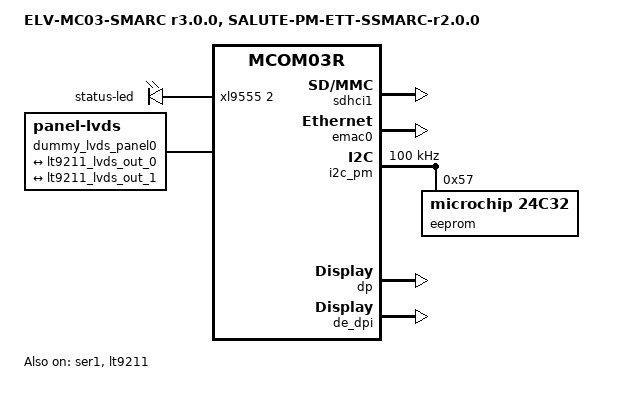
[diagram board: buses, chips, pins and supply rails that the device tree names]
// SPDX-License-Identifier: GPL-2.0+
// Copyright 2026 RnD Center "ELVEES", JSC

/dts-v1/;

#include <dt-bindings/gpio/gpio.h>
#include <dt-bindings/input/input.h>

#include "mcom03r-elvmc03smarc-r3.0.0.dtsi"

/ {
	model = "ELV-MC03-SMARC r3.0.0, SALUTE-PM-ETT-SSMARC-r2.0.0";
	compatible = "elvees,elvmc03smarc-r3.0.0-salute-pm-ett-ssmarc-r2.0.0",
		     "elvees,elvmc03smarc-salute-pm-ett-ssmarc",
		     "elvees,salute-pm-ett-ssmarc-r2.0.0",
		     "elvees,salute-pm-ett-ssmarc",
		     "elvees,elvmc03smarc-r3.0.0",
		     "elvees,elvmc03smarc",
		     "elvees,mcom03r";

	chosen {
		stdout-path = "serial0:115200n8";
	};

	salute-pm-ett-ssmarc-leds {
		compatible = "gpio-leds";

		status-led {
			gpios = <&xl9555 2 GPIO_ACTIVE_HIGH>;
			default-state = "on";
			linux,default-trigger = "heartbeat";
		};
	};

	dummy_lvds_panel0: panel {
		compatible = "panel-lvds";

		width-mm = <527>;
		height-mm = <296>;

		data-mapping = "vesa-24";

		panel-timing {
			clock-frequency = <148500000>;
			hactive = <1920>;
			vactive = <1080>;
			hfront-porch = <88>;
			hsync-len = <44>;
			hback-porch = <148>;
			vfront-porch = <4>;
			vsync-len = <5>;
			vback-porch = <36>;
		};

		ports {
			#address-cells = <1>;
			#size-cells = <0>;

			port@0 {
				reg = <0>;

				panel_input_0: endpoint {
					remote-endpoint = <&lt9211_lvds_out_0>;
				};
			};

			port@1 {
				reg = <1>;

				panel_input_1: endpoint {
					remote-endpoint = <&lt9211_lvds_out_1>;
				};
			};
		};
	};
};

&sdhci1 {
	status = "okay";

	/* Disable 1.8V support
	 * Disable SDR50, SDR104 and DDR50 support
	 */
	sdhci-caps-mask = <0x7 0x4000000>;
	sdhci-caps = <0x0 0x0>;
};

&sdhci1_default {
	/* The default clock pad drive strength of 6 mA is insufficient
	 * for some ELV-SMARC-CBs resulting in unstable SDMMC performance
	 */
	clk {
		pins = "SDMMC1_CLK";
		drive-strength = <8>;
	};
};

/* Connects to USB HUB on Salute-PM-ETT */
&ser1 {
	status = "okay";
};

&emac0 {
	status = "okay";
};

&i2c_pm {
	status = "okay";
	clock-frequency = <100000>;

	/* ID EEPROM installed on SALUTE-PM-ETT-CBx r2.0.0 */
	eeprom@57 {
		compatible = "microchip,24c32", "atmel,24c32";
		reg = <0x57>;
	};
};

/* Set temperature values for high-temperature testing (#MCOM03SW-3338) */
&cpu_alert1 {
	temperature = <100000>;
};

&cpu_alert2 {
	temperature = <110000>;
};

&dp {
	status = "okay";
};

&de_dpi {
	status = "okay";
};

&lt9211 {
	status = "okay";

	ports {
		// lvds-out
		port@2 {
			#address-cells = <1>;
			#size-cells = <0>;
			reg = <2>;

			lt9211_lvds_out_0: endpoint@1 {
				reg = <1>;
				remote-endpoint = <&panel_input_0>;
			};
		};

		port@3 {
			#address-cells = <1>;
			#size-cells = <0>;
			reg = <3>;

			lt9211_lvds_out_1: endpoint@1 {
				reg = <1>;
				remote-endpoint = <&panel_input_1>;
			};
		};
	};
};
